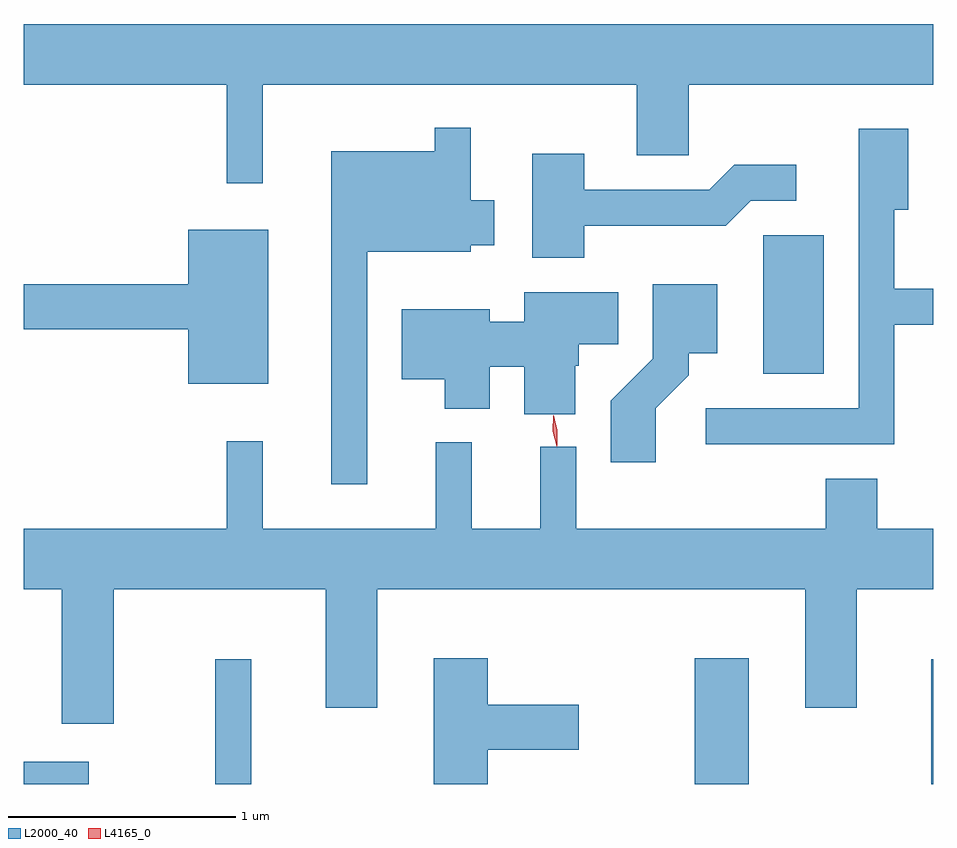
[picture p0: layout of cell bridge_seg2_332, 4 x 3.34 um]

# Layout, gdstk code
import gdstk
lib = gdstk.Library(unit=1e-6, precision=1e-09)
def R(c, l, rs):  # rectangles x0, y0, x1, y1
    for r in rs: c.add(gdstk.rectangle(r[:2], r[2:], *l))
def P(c, l, *ps):  # polygons
    for p in ps: c.add(gdstk.Polygon(p, *l))
L2000_40 = (2000, 40)
L4165_0 = (4165, 0)

bridge_seg2_332 = lib.new_cell('bridge_seg2_332')
R(bridge_seg2_332, L2000_40, [(409.184,996.4,409.469,996.499), (410.026,996.4,410.184,996.948), (412.136,996.4,412.374,996.954), (413.176,996.4,413.184,996.948), (412.436,998.206,412.704,998.814)])
P(bridge_seg2_332, L2000_40, [(410.234,999.476),(411.881,999.476),(411.881,999.166),(412.109,999.166),(412.109,999.476),(413.184,999.476),(413.184,999.744),(409.184,999.744),(409.184,999.476),(410.076,999.476),(410.076,999.043),(410.234,999.043)],
  [(410.694,998.741),(411.149,998.741),(411.149,998.771),(411.254,998.771),(411.254,998.969),(411.149,998.969),(411.149,999.288),(410.991,999.288),(410.991,999.184),(410.536,999.184),(410.536,997.718),(410.694,997.718)],
  [(413.014,998.421),(413.184,998.421),(413.184,998.579),(413.014,998.579),(413.014,998.926),(413.074,998.926),(413.074,999.284),(412.856,999.284),(412.856,998.054),(412.183,998.054),(412.183,997.896),(413.014,997.896)],
  [(411.649,998.856),(412.272,998.856),(412.382,998.966),(412.583,998.966),(412.583,999.124),(412.309,999.124),(412.199,999.014),(411.649,999.014),(411.649,999.174),(411.421,999.174),(411.421,998.716),(411.649,998.716)],
  [(410.259,998.839),(409.906,998.839),(409.906,998.599),(409.184,998.599),(409.184,998.401),(409.906,998.401),(409.906,998.161),(410.259,998.161)],
  [(411.964,998.054),(412.109,998.199),(412.109,998.296),(412.234,998.296),(412.234,998.599),(411.951,998.599),(411.951,998.272),(411.766,998.087),(411.766,997.816),(411.964,997.816)],
  [(411.609,998.24),(411.624,998.24),(411.624,998.336),(411.799,998.336),(411.799,998.564),(411.386,998.564),(411.386,998.434),(411.234,998.434),(411.234,998.489),(410.846,998.489),(410.846,998.181),(411.036,998.181),(411.036,998.051),(411.234,998.051),(411.234,998.236),(411.386,998.236),(411.386,998.026),(411.609,998.026)],
  [(410.234,997.908),(410.076,997.908),(410.076,997.524),(409.184,997.524),(409.184,997.256),(409.351,997.256),(409.351,996.666),(409.579,996.666),(409.579,997.256),(410.511,997.256),(410.511,996.736),(410.739,996.736),(410.739,997.256),(412.621,997.256),(412.621,996.736),(412.849,996.736),(412.849,997.256),(413.184,997.256),(413.184,997.524),(412.939,997.524),(412.939,997.744),(412.711,997.744),(412.711,997.524),(411.614,997.524),(411.614,997.883),(411.456,997.883),(411.456,997.524),(411.154,997.524),(411.154,997.903),(410.996,997.903),(410.996,997.524),(410.234,997.524)],
  [(411.224,996.551),(411.624,996.551),(411.624,996.749),(411.224,996.749),(411.224,996.954),(410.986,996.954),(410.986,996.4),(411.224,996.4)])
P(bridge_seg2_332, L4165_0, [(411.528,997.885),(411.528,997.886),(411.511,997.953),(411.514,998.023),(411.515,998.023),(411.515,998.023),(411.531,997.955),(411.529,997.886)],
  [(411.529,997.889),(411.529,997.889),(411.511,997.954),(411.513,998.02),(411.513,998.02),(411.514,998.02),(411.531,997.956),(411.53,997.889)])

lib.write_gds('bridge_seg2_332.gds')
